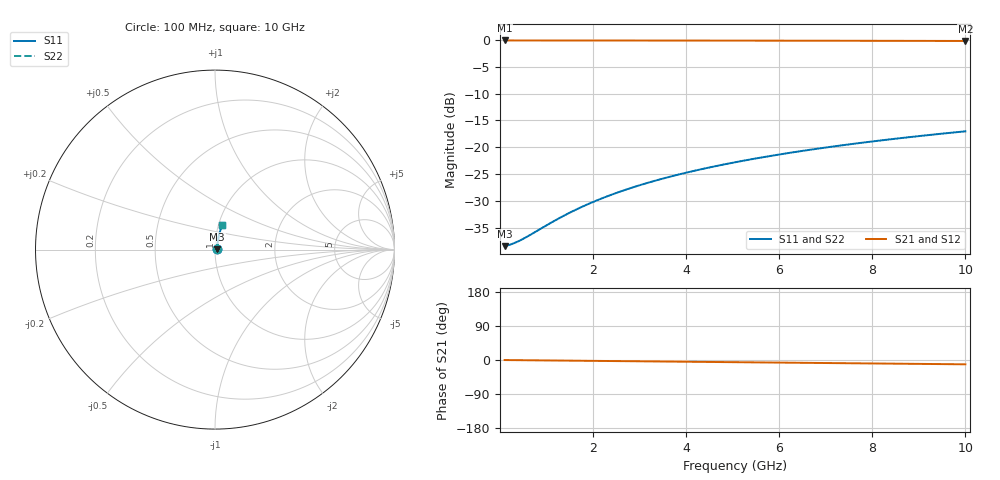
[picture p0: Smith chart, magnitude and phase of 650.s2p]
# Hz S RI R 50.00
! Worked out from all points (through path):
!   100 points, 100 MHz to 10 GHz, reference 50 ohm
!   highest |S21| = -0.10 dB at 100 MHz (marker M1); lowest = -0.2 dB at 10 GHz (marker M2)
!   group delay of S21, straight-line fit = 3.17 ps
!   lowest |S11| = -38.4 dB at 100 MHz (marker M3), VSWR 1.02, Z = 51.2 + j0.143 ohm
!   |S11| at or under -10 dB: start of sweep to end of sweep
!   |S22| runs from -38.4 to -17.0 dB; largest |S21 - S12| = 0
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1e8  0.0119 0.00139  0.9881 -0.00197  0.9881 -0.00197  0.0119 0.00139
2e8  0.012 0.00278  0.988 -0.00394  0.988 -0.00394  0.012 0.00278
3e8  0.012 0.00418  0.9879 -0.00591  0.9879 -0.00591  0.012 0.00418
4e8  0.0121 0.00557  0.9879 -0.00788  0.9879 -0.00788  0.0121 0.00557
6e8  0.0122 0.00835  0.9877 -0.0118  0.9877 -0.0118  0.0122 0.00835
1.1e9  0.0126 0.0153  0.9874 -0.0217  0.9874 -0.0217  0.0126 0.0153
1.3e9  0.0128 0.0181  0.9872 -0.0256  0.9872 -0.0256  0.0128 0.0181
1.5e9  0.013 0.0208  0.987 -0.0295  0.987 -0.0295  0.013 0.0208
1.8e9  0.0133 0.025  0.9866 -0.0354  0.9866 -0.0354  0.0133 0.025
2.1e9  0.0137 0.0292  0.9862 -0.0413  0.9862 -0.0413  0.0137 0.0292
2.5e9  0.0142 0.0347  0.9857 -0.0492  0.9857 -0.0492  0.0142 0.0347
2.9e9  0.0149 0.0402  0.985 -0.057  0.985 -0.057  0.0149 0.0402
3.4e9  0.0158 0.0471  0.984 -0.0668  0.984 -0.0668  0.0158 0.0471
3.8e9  0.0166 0.0526  0.9831 -0.0746  0.9831 -0.0746  0.0166 0.0526
4.2e9  0.0176 0.0581  0.9821 -0.0824  0.9821 -0.0824  0.0176 0.0581
4.6e9  0.0186 0.0635  0.9811 -0.0902  0.9811 -0.0902  0.0186 0.0635
5.1e9  0.0199 0.0703  0.9796 -0.0999  0.9796 -0.0999  0.0199 0.0703
5.9e9  0.0224 0.0811  0.977 -0.1154  0.977 -0.1154  0.0224 0.0811
6.7e9  0.0252 0.0918  0.974 -0.1308  0.974 -0.1308  0.0252 0.0918
7.5e9  0.0284 0.1024  0.9706 -0.146  0.9706 -0.146  0.0284 0.1024
8.4e9  0.0323 0.1142  0.9664 -0.1631  0.9664 -0.1631  0.0323 0.1142
1e10  0.0403 0.1348  0.9579 -0.193  0.9579 -0.193  0.0403 0.1348
